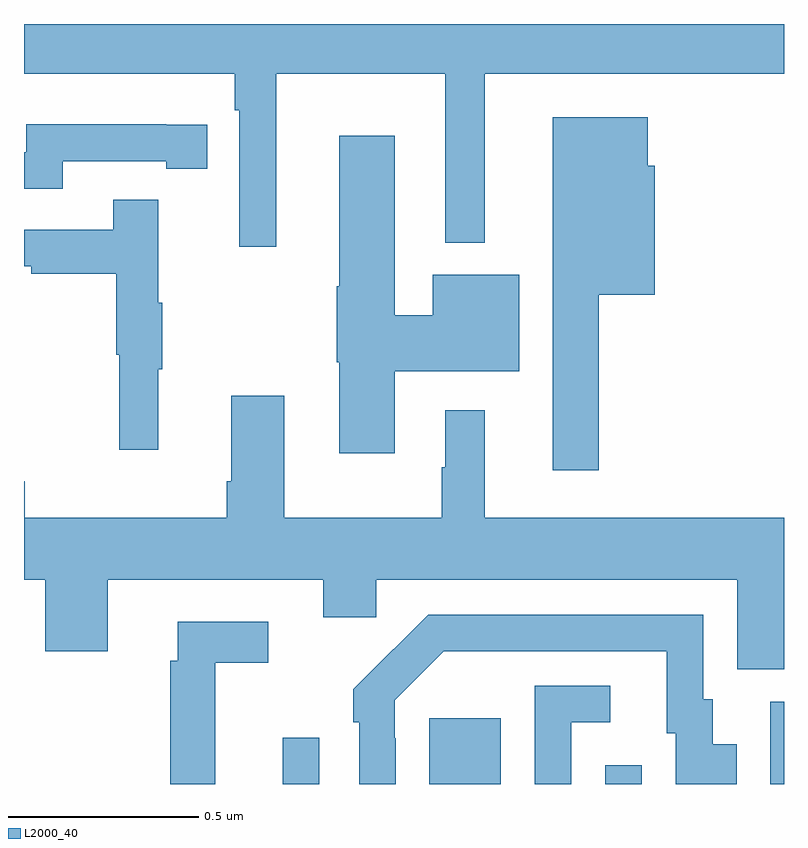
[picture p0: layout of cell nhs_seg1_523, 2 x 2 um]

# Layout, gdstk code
import gdstk
lib = gdstk.Library(unit=1e-6, precision=1e-09)
def R(c, l, rs):  # rectangles x0, y0, x1, y1
    for r in rs: c.add(gdstk.rectangle(r[:2], r[2:], *l))
def P(c, l, *ps):  # polygons
    for p in ps: c.add(gdstk.Polygon(p, *l))
L2000_40 = (2000, 40)

nhs_seg1_523 = lib.new_cell('nhs_seg1_523')
R(nhs_seg1_523, L2000_40, [(117.681,547.199,117.777,547.321), (118.067,547.199,118.255,547.372), (118.53,547.199,118.626,547.249), (118.964,547.199,119,547.416)])
P(nhs_seg1_523, L2000_40, [(117.664,549.068),(118.109,549.068),(118.109,548.624),(118.213,548.624),(118.213,549.068),(119,549.068),(119,549.199),(117,549.199),(117,549.068),(117.554,549.068),(117.554,548.972),(117.567,548.972),(117.567,548.613),(117.664,548.613)],
  [(118.513,548.486),(118.66,548.486),(118.66,548.826),(118.642,548.826),(118.642,548.953),(118.391,548.953),(118.391,548.025),(118.513,548.025)],
  [(117.102,548.838),(117.374,548.838),(117.374,548.818),(117.482,548.818),(117.482,548.934),(117.374,548.934),(117.374,548.935),(117.006,548.935),(117.006,548.862),(117,548.862),(117,548.766),(117.102,548.766)],
  [(117.976,548.285),(118.303,548.285),(118.303,548.539),(118.076,548.539),(118.076,548.432),(117.976,548.432),(117.976,548.905),(117.83,548.905),(117.83,548.509),(117.823,548.509),(117.823,548.309),(117.83,548.309),(117.83,548.07),(117.976,548.07)],
  [(117.353,548.291),(117.364,548.291),(117.364,548.465),(117.353,548.465),(117.353,548.737),(117.235,548.737),(117.235,548.658),(117,548.658),(117,548.562),(117.019,548.562),(117.019,548.542),(117.243,548.542),(117.243,548.328),(117.25,548.328),(117.25,548.079),(117.353,548.079)],
  [(119,547.9),(118.213,547.9),(118.213,548.182),(118.109,548.182),(118.109,548.033),(118.099,548.033),(118.099,547.9),(117.685,547.9),(117.685,548.221),(117.545,548.221),(117.545,547.996),(117.533,547.996),(117.533,547.9),(117.002,547.9),(117.002,547.996),(117,547.996),(117,547.736),(117.056,547.736),(117.056,547.548),(117.22,547.548),(117.22,547.736),(117.788,547.736),(117.788,547.638),(117.927,547.638),(117.927,547.736),(118.877,547.736),(118.877,547.501),(119,547.501)],
  [(117.978,547.319),(117.975,547.319),(117.975,547.419),(118.104,547.548),(118.691,547.548),(118.691,547.332),(118.715,547.332),(118.715,547.199),(118.876,547.199),(118.876,547.303),(118.813,547.303),(118.813,547.422),(118.788,547.422),(118.788,547.644),(118.064,547.644),(117.973,547.553),(117.972,547.554),(117.867,547.449),(117.867,547.361),(117.882,547.361),(117.882,547.199),(117.978,547.199)],
  [(117.503,547.518),(117.643,547.518),(117.643,547.626),(117.404,547.626),(117.404,547.523),(117.385,547.523),(117.385,547.199),(117.503,547.199)],
  [(118.44,547.362),(118.543,547.362),(118.543,547.458),(118.344,547.458),(118.344,547.199),(118.44,547.199)])

lib.write_gds('nhs_seg1_523.gds')
